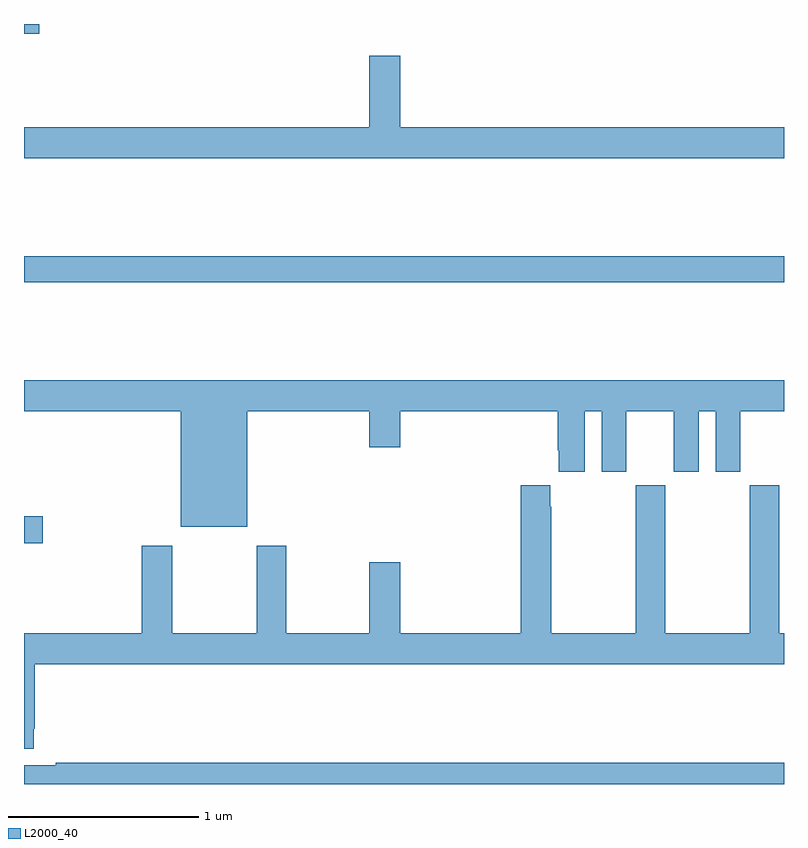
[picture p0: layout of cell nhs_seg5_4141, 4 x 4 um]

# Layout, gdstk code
import gdstk
lib = gdstk.Library(unit=1e-6, precision=1e-09)
def R(c, l, rs):  # rectangles x0, y0, x1, y1
    for r in rs: c.add(gdstk.rectangle(r[:2], r[2:], *l))
def P(c, l, *ps):  # polygons
    for p in ps: c.add(gdstk.Polygon(p, *l))
L2000_40 = (2000, 40)

nhs_seg5_4141 = lib.new_cell('nhs_seg5_4141')
R(nhs_seg5_4141, L2000_40, [(355,856.066,355.099,856.208), (355,857.44,359,857.576), (355,858.749,355.081,858.799)])
P(nhs_seg5_4141, L2000_40, [(359,858.256),(356.98,858.256),(356.98,858.631),(356.816,858.631),(356.816,858.256),(355,858.256),(355,858.092),(359,858.092)],
  [(356.176,856.76),(356.816,856.76),(356.816,856.572),(356.98,856.572),(356.98,856.76),(357.809,856.76),(357.809,856.555),(357.815,856.555),(357.815,856.443),(357.952,856.443),(357.952,856.76),(358.04,856.76),(358.04,856.443),(358.171,856.443),(358.171,856.76),(358.421,856.76),(358.421,856.443),(358.552,856.443),(358.552,856.76),(358.64,856.76),(358.64,856.443),(358.771,856.443),(358.771,856.76),(359,856.76),(359,856.924),(355,856.924),(355,856.76),(355.826,856.76),(355.826,856.154),(356.176,856.154)],
  [(355.05,855.091),(355.057,855.091),(355.057,855.428),(359,855.428),(359,855.592),(358.974,855.592),(358.974,856.372),(358.819,856.372),(358.819,855.592),(358.374,855.592),(358.374,856.372),(358.219,856.372),(358.219,855.592),(357.774,855.592),(357.774,856.259),(357.769,856.259),(357.769,856.372),(357.614,856.372),(357.614,855.592),(356.98,855.592),(356.98,855.967),(356.816,855.967),(356.816,855.592),(356.379,855.592),(356.379,856.054),(356.224,856.054),(356.224,855.592),(355.779,855.592),(355.779,856.054),(355.619,856.054),(355.619,855.592),(355,855.592),(355,854.984),(355.05,854.984)],
  [(359,854.912),(355.168,854.912),(355.168,854.899),(355,854.899),(355,854.799),(359,854.799)])

lib.write_gds('nhs_seg5_4141.gds')
